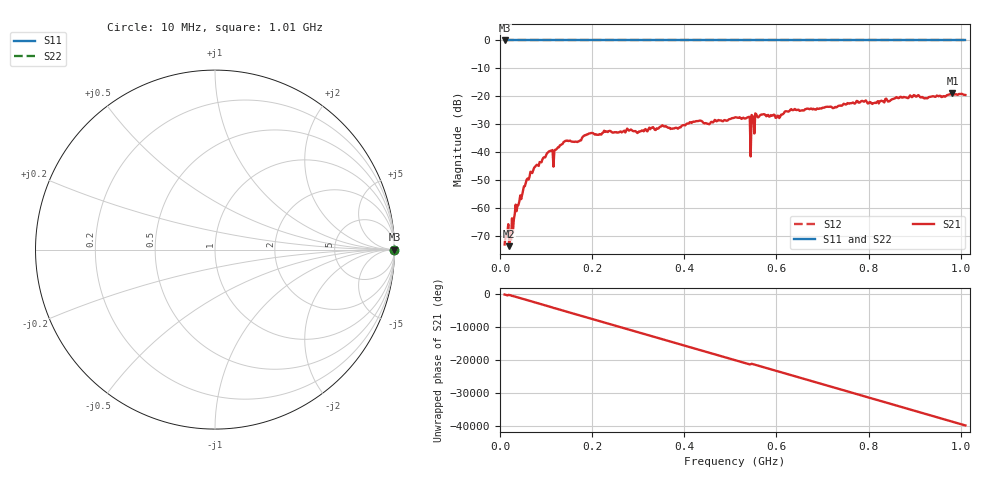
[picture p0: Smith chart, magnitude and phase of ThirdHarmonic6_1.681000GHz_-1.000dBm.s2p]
! 8/16/2025 8:10:38 PM
! C:\ANRITSUVNA\TEMP\TEMP.S2P
! CHANNEL.1
! TR.MEASUREMENT
! RAW.DATA
! RF.CORRECTION.OFF
! AVERAGING.OFF
! IF.BANDWIDTH: 5KHZ
! SWEEPTYPE:  FREQ.SWEEP(Linear)
! Reference Plane Port Info
! PORT:  PORT1  PORT2
! DISTANCE:  0  m  0  m
! TIME:  0  s  0  s
! PHASE.OFFSET:  0  deg.  0  deg.
! LOSS:  0  dB  0  dB
! REF.LOSS:  0  dB  0  dB
! REF.FREQ:  0  Hz  0  Hz
! Power Info
! POWER:  -20  dBm  -20  dBm
! EFF.POWER:  -20  dBm  -20  dBm
! SOURCE.ATTEN:  0  dB  0  dB
! TEST.ATTEN:  0  dB  0  dB
# GHZ S RI R 50.0
! FREQ.GHZ  S11RE  S11IM  S21RE  S21IM  S12RE  S12IM  S22RE  S22IM
!; PortSelection: Port_12
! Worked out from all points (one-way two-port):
!   501 points, 10 MHz to 1.01 GHz, reference 50 ohm
!   highest |S21| = -19.01 dB at 982 MHz (marker M1); lowest = -73.8 dB at 20 MHz (marker M2)
!   lowest |S11| = 0.0 dB at 10 MHz (marker M3)
!   |S11| at or under -10 dB: nowhere
!   |S22| runs from 0.0 to 0.0 dB; largest |S21 - S12| = 1.1
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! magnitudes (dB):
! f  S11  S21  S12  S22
! 10 MHz  0.0  -73.2  0.0  0.0
! 20 MHz  0.0  -73.8  0.0  0.0
! 24 MHz  0.0  -71.5  0.0  0.0
! 34 MHz  0.0  -58.9  0.0  0.0
! 54 MHz  0.0  -52.2  0.0  0.0
! 76 MHz  0.0  -45.3  0.0  0.0
! 142 MHz  0.0  -36.0  0.0  0.0
! 178 MHz  0.0  -34.9  0.0  0.0
! 196 MHz  0.0  -33.3  0.0  0.0
! 344 MHz  0.0  -31.6  0.0  0.0
! 510 MHz  0.0  -27.6  0.0  0.0
! 538 MHz  0.0  -27.6  0.0  0.0
! 540 MHz  0.0  -27.4  0.0  0.0
! 548 MHz  0.0  -27.1  0.0  0.0
! 550 MHz  0.0  -27.5  0.0  0.0
! 558 MHz  0.0  -27.3  0.0  0.0
! 602 MHz  0.0  -27.0  0.0  0.0
! 634 MHz  0.0  -25.0  0.0  0.0
! 678 MHz  0.0  -24.7  0.0  0.0
! 844 MHz  0.0  -21.9  0.0  0.0
! 982 MHz  0.0  -19.0  0.0  0.0
! 1.01 GHz  0.0  -19.6  0.0  0.0
